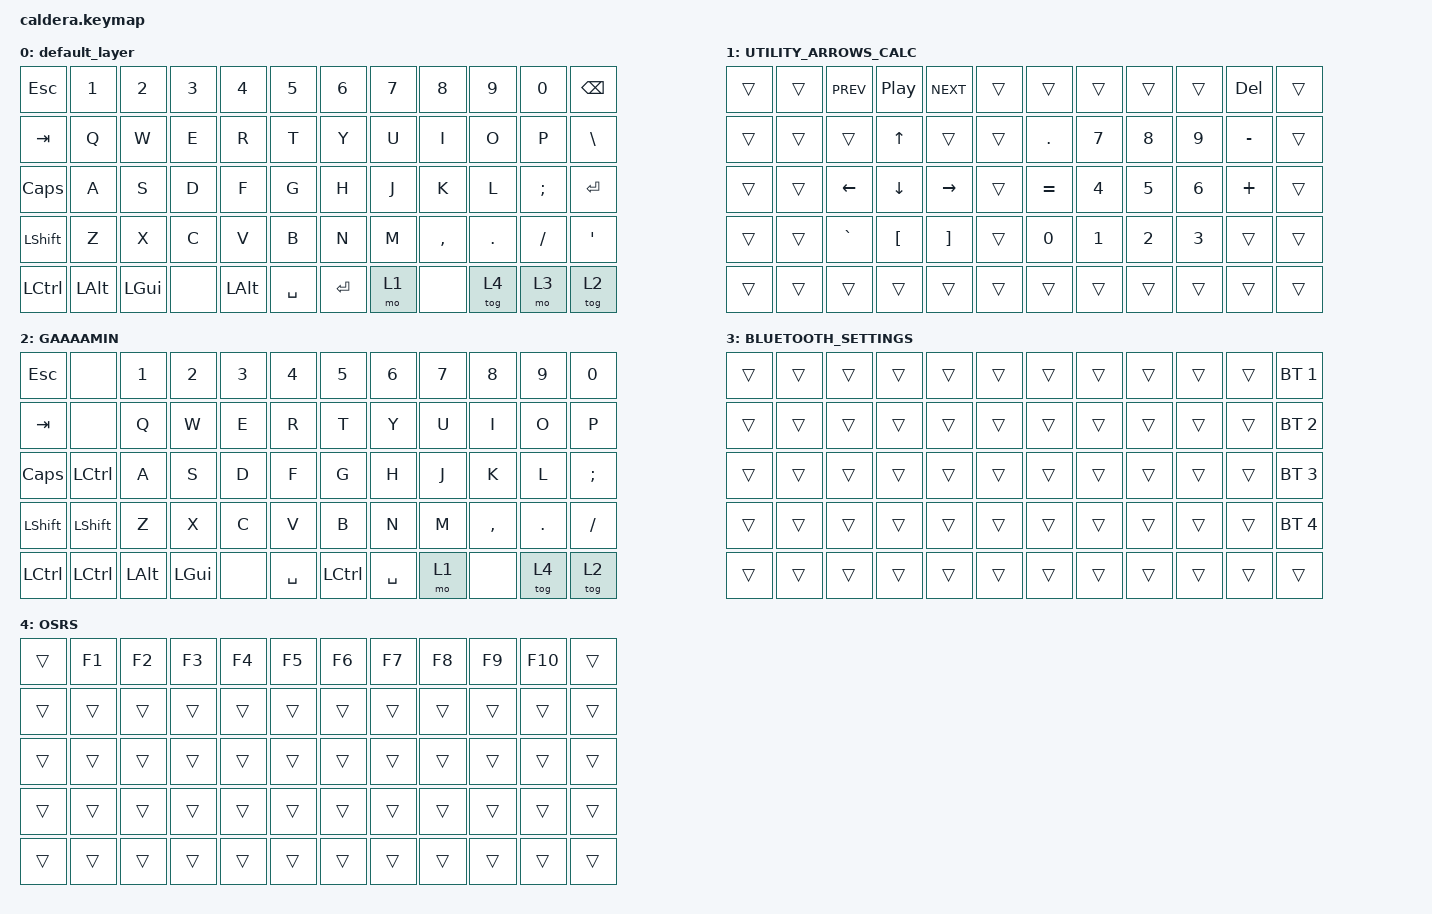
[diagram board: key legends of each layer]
/*
 * Copyright (c) 2020 The ZMK Contributors
 *
 * SPDX-License-Identifier: MIT
 */

#include <behaviors.dtsi>
#include <dt-bindings/zmk/keys.h>
#include <dt-bindings/zmk/bt.h>

// DONT SOFTLOFT YOURSELF
// 0 IS DEFAULT
// 1 IS NUMPAD
// 2 IS GAMING
// 3 IS Bluetooth settings
// 4 IS OSRS
/ {
        keymap {
                compatible = "zmk,keymap";

default_layer {
// ---------------------------------------------------------------------------------
// |  ESC |  1  |  2  |  3  |  4  |  5  |     |  6  |  7  |  8  |  9  |  0  | BKSP |
// |  TAB |  Q  |  W  |  E  |  R  |  T  |     |  Y  |  U  |  I  |  O  |  P  |  \   |
// | CAPS |  A  |  S  |  D  |  F  |  G  |     |  H  |  J  |  K  |  L  |  ;  |  ENT |
// | SHFT |  Z  |  X  |  C  |  V  |  B  |     |  N  |  M  |  ,  |  .  |  /  | APOS |
// | lCTRL| ALT | WIN |TOG 2| Lalt| SPC |     | SPC | Ly1 |     |TOGrs|btLay|TOGgam|
                        bindings = <
   &kp ESC    &kp N1    &kp N2    &kp N3     &kp N4     &kp N5          &kp N6     &kp N7  &kp N8     &kp N9    &kp N0    &kp BSPC
   &kp TAB    &kp Q     &kp W     &kp E      &kp R      &kp T           &kp Y      &kp U   &kp I      &kp O     &kp P     &kp BSLH
   &kp CAPS   &kp A     &kp S     &kp D      &kp F      &kp G           &kp H      &kp J   &kp K      &kp L     &kp SEMI  &kp RET
   &kp LSHFT  &kp Z     &kp X     &kp C      &kp V      &kp B           &kp N      &kp M   &kp COMMA  &kp DOT   &kp FSLH  &kp APOS
   &kp LCTRL  &kp LALT  &kp LGUI  &none      &kp LALT   &kp SPACE       &kp RET    &mo 1   &none      &tog 4    &mo 3     &tog 2
                        >;
                };
                UTILITY_ARROWS_CALC {
// ------------------------------------------------------------------------------------------------------------
// |       |       | prev  |pla/pau| next  |       |          |       |       |       |       |  DEL  |       |
// |       |       |       |  UP   |       |       |          |   .   |   7   |   8   |   9   |   -   |       |
// |       |       | Left  |  Down | Right |       |          |   =   |   4   |   5   |   6   |   +   |       |
// |       |       |   ~   |   {   |   }   |       |          |   0   |   1   |   2   |   3   |       |       |
// |       |       |       |       |       |       |          |       |       |       |       |       |       |
                        bindings = <

   &trans    &trans    &kp C_PREV &kp C_PP &kp C_NEXT &trans     &trans     &trans    &trans   &trans   &kp DEL   &trans
   &trans    &trans    &trans     &kp UP   &trans     &trans     &kp PERIOD &kp N7    &kp N8   &kp N9   &kp MINUS &trans
   &trans    &trans    &kp LEFT   &kp DOWN &kp RIGHT  &trans     &kp EQUAL  &kp N4    &kp N5   &kp N6   &kp PLUS  &trans
   &trans    &trans    &kp GRAVE  &kp LBKT &kp RBKT   &trans     &kp N0     &kp N1    &kp N2   &kp N3   &trans    &trans
   &trans    &trans    &trans     &trans   &trans     &trans     &trans     &trans    &trans   &trans   &trans    &trans
                        >;
                };
GAAAAMIN {
// ------------------------------------------------------------------------------------------------------------
// |       |       |       |       |       |       |          |       |       |       |       |       |       |
// |       |       |       |       |       |       |          |       |       |       |       |       |       |
// |       |       |       |       |       |       |          |       |       |       |       |       |       |
// |       |       |       |       |       |       |          |       |       |       |       |       |       |
// |       |       |       |       |       |       |          |       |       |       |       |       |       |
                        bindings = <
   &kp ESC    &none      &kp N1    &kp N2    &kp N3     &kp N4              &kp N5          &kp N6     &kp N7  &kp N8     &kp N9    &kp N0    
   &kp TAB    &none      &kp Q     &kp W     &kp E      &kp R               &kp T           &kp Y      &kp U   &kp I      &kp O     &kp P     
   &kp CAPS   &kp LCTRL  &kp A     &kp S     &kp D      &kp F               &kp G           &kp H      &kp J   &kp K      &kp L     &kp SEMI  
   &kp LSHFT  &kp LSHFT  &kp Z     &kp X     &kp C      &kp V               &kp B           &kp N      &kp M   &kp COMMA  &kp DOT   &kp FSLH  
   &kp LCTRL  &kp LCTRL  &kp LALT  &kp LGUI  &none      &kp SPACE           &kp LCTRL      &kp SPACE   &mo 1   &none      &tog 4    &tog 2     
                        >;
                };
        BLUETOOTH_SETTINGS {
// ------------------------------------------------------------------------------------------------------------
// |       |       |       |       |       |       |          |       |       |       |       |       |BT sel 1|
// |       |       |       |       |       |       |          |       |       |       |       |       |BT sel 2|
// |       |       |       |       |       |       |          |       |       |       |       |       |BT sel 3|
// |       |       |       |       |       |       |          |       |       |       |       |       |BT sel 4|
// |       |       |       |       |       |       |          |       |       |       |       |       |BT sel 5|
                bindings = <
   &trans    &trans         &trans         &trans         &trans         &trans                 &trans    &trans    &trans   &trans   &trans  &bt BT_SEL 1
   &trans    &trans         &trans         &trans         &trans         &trans                 &trans    &trans    &trans   &trans   &trans  &bt BT_SEL 2
   &trans    &trans         &trans         &trans         &trans         &trans                 &trans    &trans    &trans   &trans   &trans  &bt BT_SEL 3
   &trans    &trans         &trans         &trans         &trans         &trans                 &trans    &trans    &trans   &trans   &trans  &bt BT_SEL 4
   &trans    &trans         &trans         &trans         &trans         &trans                 &trans    &trans    &trans   &trans   &trans  &trans
                        >;
                };
OSRS {
// ------------------------------------------------------------------------------------------------------------
// |       |       |       |       |       |       |          |       |   7   |    8  |   9   |       |       |
// |       |       |       |       |       |       |          |       |   4   |    5  |   6   |       |       |
// |       |       |       |       |       |       |          |       |   1   |   2   |   3   |       |       |
// |       |       |       |       |       |       |          |       |       |       |       |       |       |
                        bindings = <
   &trans     &kp F1    &kp F2    &kp F3     &kp F4     &kp F5          &kp F6     &kp F7  &kp F8     &kp F9    &kp F10   &trans
   &trans     &trans    &trans    &trans     &trans     &trans          &trans     &trans  &trans     &trans    &trans    &trans
   &trans     &trans    &trans    &trans     &trans     &trans          &trans     &trans  &trans     &trans    &trans    &trans
   &trans     &trans    &trans    &trans     &trans     &trans          &trans     &trans  &trans     &trans    &trans    &trans
   &trans     &trans    &trans    &trans     &trans     &trans          &trans     &trans  &trans     &trans    &trans    &trans

                        >;
                };
        };
};
